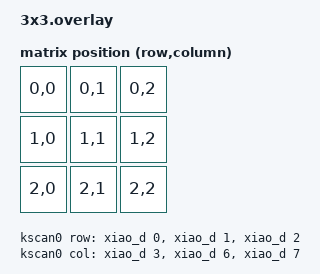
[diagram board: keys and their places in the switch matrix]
#include <dt-bindings/zmk/matrix_transform.h>
#include <physical_layouts.dtsi>

/ {
    chosen {
        zmk,kscan = &kscan0;
        zmk,physical-layout = &physical_layout0;
        // ZMK Studio talks to the host over this CDC ACM UART.
        zmk,studio-rpc-uart = &studio_rpc_uart;
    };

    /*
     * NOTE: the Studio UART node itself is defined at the bottom of this file,
     * under &zephyr_udc0, because a CDC ACM UART must be a child of the USB
     * device controller.
     */

    kscan0: kscan0 {
        compatible = "zmk,kscan-gpio-matrix";
        wakeup-source;

        /*
         * Rows are driven high one at a time, columns are read.
         *
         * The diodes in this build are fitted with the band (cathode) facing the
         * COLUMN wire, so current flows row -> column. With the default
         * "col2row" (which expects the band on the row wire) every key read dead
         * while jumper bridges on the raw pins still worked. If the diodes are
         * ever reflowed or the matrix rebuilt with the opposite orientation,
         * this must go back to "col2row" with the pull-downs on the rows.
         */
        diode-direction = "row2col";

        // Rows are outputs: no pull, just drive high.
        row-gpios
            = <&xiao_d 0 GPIO_ACTIVE_HIGH>,
              <&xiao_d 1 GPIO_ACTIVE_HIGH>,
              <&xiao_d 2 GPIO_ACTIVE_HIGH>;

        // Columns are inputs, so they carry the pull-down that keeps them low
        // while idle; a pressed key pulls its column high when that row is driven.
        col-gpios
            = <&xiao_d 3 (GPIO_ACTIVE_HIGH | GPIO_PULL_DOWN)>,
              <&xiao_d 6 (GPIO_ACTIVE_HIGH | GPIO_PULL_DOWN)>,
              <&xiao_d 7 (GPIO_ACTIVE_HIGH | GPIO_PULL_DOWN)>;
    };

    default_transform: matrix_transform {
        compatible = "zmk,matrix-transform";
        rows = <3>;
        columns = <3>;
        // Key order below is the order bindings appear in the keymap.
        map = <
            RC(0,0) RC(0,1) RC(0,2)
            RC(1,0) RC(1,1) RC(1,2)
            RC(2,0) RC(2,1) RC(2,2)
        >;
    };

    // Makes ZMK enumerate physical_layout0 as the one and only layout, which
    // ZMK Studio needs in order to list the keyboard's layout. `complete` with
    // no children means the single layout maps to itself, so no entry list is
    // needed until a second layout exists.
    position_map: position_map {
        compatible = "zmk,physical-layout-position-map";
        complete;
    };

    physical_layout0: physical_layout_0 {
        compatible = "zmk,physical-layout";
        display-name = "Default Layout";
        kscan = <&kscan0>;
        transform = <&default_transform>;
        // Required by ZMK Studio: it needs to know each key's physical size and
        // position on the board to render the layout in the browser editor.
        //                          w   h    x    y   rot  rx  ry
        keys
            = <&key_physical_attrs 100 100    0    0   0   0   0>
            , <&key_physical_attrs 100 100  100    0   0   0   0>
            , <&key_physical_attrs 100 100  200    0   0   0   0>
            , <&key_physical_attrs 100 100    0  100   0   0   0>
            , <&key_physical_attrs 100 100  100  100   0   0   0>
            , <&key_physical_attrs 100 100  200  100   0   0   0>
            , <&key_physical_attrs 100 100    0  200   0   0   0>
            , <&key_physical_attrs 100 100  100  200   0   0   0>
            , <&key_physical_attrs 100 100  200  200   0   0   0>
            ;
    };
};

// Studio's CDC ACM transport lives on the USB device controller, so it cannot
// be declared at the root of the devicetree.
// This replicates app/snippets/studio-rpc-usb-uart/studio-rpc-usb-uart.overlay.
&zephyr_udc0 {
    studio_rpc_uart: studio_rpc_uart {
        compatible = "zephyr,cdc-acm-uart";
    };
};

/*
 * This shield does NOT touch any peripheral status.
 *
 * D4/D5 are deliberately unused here: the XIAO BLE board def leaves &i2c1 enabled
 * with its pinctrl on P0.04 (D4) and P0.05 (D5), so those pads stay reserved for a
 * future I2C OLED. D8/D9/D10 likewise stay free for an EC11 encoder later (&spi2 is
 * enabled by the board def on those pads, but the encoder uses plain GPIO, so
 * &spi2 must be disabled when that phase starts).
 *
 * D6/D7 are safe to use: ZMK's board dts already disables &xiao_serial (uart0).
 */
